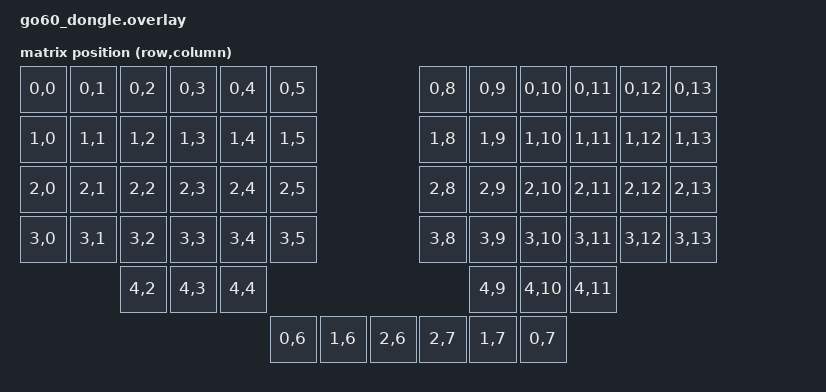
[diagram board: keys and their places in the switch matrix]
/*
 * Copyright (c) 2024 The ZMK Contributors
 *
 * SPDX-License-Identifier: MIT
 */

#include <dt-bindings/led/led.h>
#include <dt-bindings/zmk/matrix_transform.h>
#include "go60-layouts.dtsi"

&physical_layout0 {
    transform = <&matrix_transform0>;
};

&pinctrl {
    spi3_default: spi3_default {
        group1 {
            psels = <NRF_PSEL(SPIM_MOSI, 0, 27)>;
        };
    };

    spi3_sleep: spi3_sleep {
        group1 {
            psels = <NRF_PSEL(SPIM_MOSI, 0, 27)>;
            low-power-enable;
        };
    };
};

&spi3 {
    compatible = "nordic,nrf-spim";
    status = "okay";

    pinctrl-0 = <&spi3_default>;
    pinctrl-1 = <&spi3_sleep>;
    pinctrl-names = "default", "sleep";

    led_strip: ws2812@0 {
        compatible = "worldsemi,ws2812-spi";
        reg = <0>;
        spi-max-frequency = <4000000>;
        chain-length = <30>;
        spi-one-frame = <0x70>;
        spi-zero-frame = <0x40>;
        color-mapping = <LED_COLOR_ID_GREEN LED_COLOR_ID_RED LED_COLOR_ID_BLUE>;
    };
};

/ {
    chosen {
        zmk,kscan = &mock_kscan;
        zmk,physical-layout = &physical_layout0;
        zephyr,display = &oled;
        zmk,underglow = &led_strip;
    };

    // Mock glidepoint node so keymap &glidepoint overrides resolve without errors
    glidepoint: glidepoint {
        status = "okay";
        sensitivity = "1x";
    };

    mock_kscan: mock_kscan_0 {
        compatible = "zmk,kscan-mock";
        columns = <0>;
        rows = <0>;
        events = <0>;
    };

    matrix_transform0: keymap_transform_0 {
        compatible = "zmk,matrix-transform";
        columns = <14>;
        rows = <4>;
        map = <
            RC(0,0) RC(0,1) RC(0,2) RC(0,3) RC(0,4) RC(0,5)                                   RC(0,8) RC(0,9) RC(0,10) RC(0,11) RC(0,12) RC(0,13)
            RC(1,0) RC(1,1) RC(1,2) RC(1,3) RC(1,4) RC(1,5)                                   RC(1,8) RC(1,9) RC(1,10) RC(1,11) RC(1,12) RC(1,13)
            RC(2,0) RC(2,1) RC(2,2) RC(2,3) RC(2,4) RC(2,5)                                   RC(2,8) RC(2,9) RC(2,10) RC(2,11) RC(2,12) RC(2,13)
            RC(3,0) RC(3,1) RC(3,2) RC(3,3) RC(3,4) RC(3,5)                                   RC(3,8) RC(3,9) RC(3,10) RC(3,11) RC(3,12) RC(3,13)
                            RC(4,2) RC(4,3) RC(4,4)                                                   RC(4,9) RC(4,10) RC(4,11)
                                                    RC(0,6) RC(1,6) RC(2,6)   RC(2,7) RC(1,7) RC(0,7)
        >;
    };

    inputs {
        #address-cells = <1>;
        #size-cells = <0>;
        cirque_split_rh: cirque_split@0 {
            compatible = "zmk,input-split";
            reg = <0>;
        };
        cirque_split_lh: cirque_split@1 {
            compatible = "zmk,input-split";
            reg = <1>;
        };
    };

    cirque_rh_listener: cirque_rh_listener {
        compatible = "zmk,input-listener";
        device = <&cirque_split_rh>;
    };

    cirque_lh_listener: cirque_lh_listener {
        compatible = "zmk,input-listener";
        device = <&cirque_split_lh>;
    };
};

&pro_micro_i2c {
    status = "okay";
    clock-frequency = <100000>;

    oled: ssd1306@3c {
        compatible = "solomon,ssd1306fb";
        reg = <0x3c>;
        width = <128>;
        height = <64>;
        segment-offset = <0>;
        page-offset = <0>;
        display-offset = <0>;
        multiplex-ratio = <63>;
        segment-remap;
        com-invdir;
        prechargep = <0x22>;
    };
};
